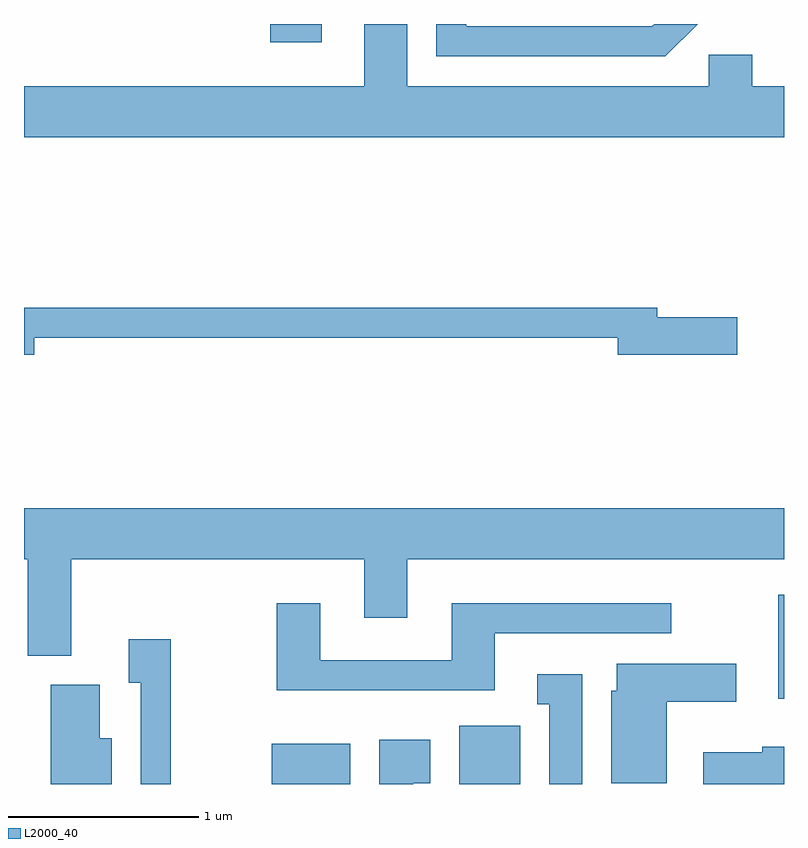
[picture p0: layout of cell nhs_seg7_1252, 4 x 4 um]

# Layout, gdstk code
import gdstk
lib = gdstk.Library(unit=1e-6, precision=1e-09)
def R(c, l, rs):  # rectangles x0, y0, x1, y1
    for r in rs: c.add(gdstk.rectangle(r[:2], r[2:], *l))
def P(c, l, *ps):  # polygons
    for p in ps: c.add(gdstk.Polygon(p, *l))
L2000_40 = (2000, 40)

nhs_seg7_1252 = lib.new_cell('nhs_seg7_1252')
R(nhs_seg7_1252, L2000_40, [(224.916,1704.252,225.329,1704.464), (225.901,1704.252,226.224,1704.559), (227.581,1704.701,227.611,1705.248), (224.906,1708.156,225.178,1708.252)])
P(nhs_seg7_1252, L2000_40, [(227.611,1707.924),(227.444,1707.924),(227.444,1708.089),(227.216,1708.089),(227.216,1707.924),(225.629,1707.924),(225.629,1708.252),(225.401,1708.252),(225.401,1707.924),(223.611,1707.924),(223.611,1707.656),(227.611,1707.656)],
  [(227.157,1708.252),(226.927,1708.252),(226.914,1708.239),(225.939,1708.239),(225.939,1708.252),(225.781,1708.252),(225.781,1708.081),(226.987,1708.081)],
  [(223.664,1706.601),(226.736,1706.601),(226.736,1706.511),(227.364,1706.511),(227.364,1706.709),(226.944,1706.709),(226.944,1706.759),(223.611,1706.759),(223.611,1706.511),(223.664,1706.511)],
  [(223.859,1705.436),(225.401,1705.436),(225.401,1705.126),(225.629,1705.126),(225.629,1705.436),(227.611,1705.436),(227.611,1705.704),(223.611,1705.704),(223.611,1705.436),(223.631,1705.436),(223.631,1704.926),(223.859,1704.926)],
  [(226.089,1705.046),(227.018,1705.046),(227.018,1705.204),(225.861,1705.204),(225.861,1704.904),(225.169,1704.904),(225.169,1705.204),(224.941,1705.204),(224.941,1704.746),(226.089,1704.746)],
  [(224.384,1705.014),(224.161,1705.014),(224.161,1704.786),(224.226,1704.786),(224.226,1704.252),(224.384,1704.252)],
  [(226.994,1704.686),(227.359,1704.686),(227.359,1704.884),(226.731,1704.884),(226.731,1704.744),(226.701,1704.744),(226.701,1704.256),(226.994,1704.256)],
  [(226.549,1704.829),(226.313,1704.829),(226.313,1704.671),(226.376,1704.671),(226.376,1704.252),(226.549,1704.252)],
  [(224.074,1704.494),(224.009,1704.494),(224.009,1704.774),(223.751,1704.774),(223.751,1704.252),(224.074,1704.252)],
  [(225.659,1704.256),(225.749,1704.256),(225.749,1704.484),(225.481,1704.484),(225.481,1704.252),(225.659,1704.252)],
  [(227.611,1704.449),(227.496,1704.449),(227.496,1704.419),(227.186,1704.419),(227.186,1704.252),(227.611,1704.252)])

lib.write_gds('nhs_seg7_1252.gds')
